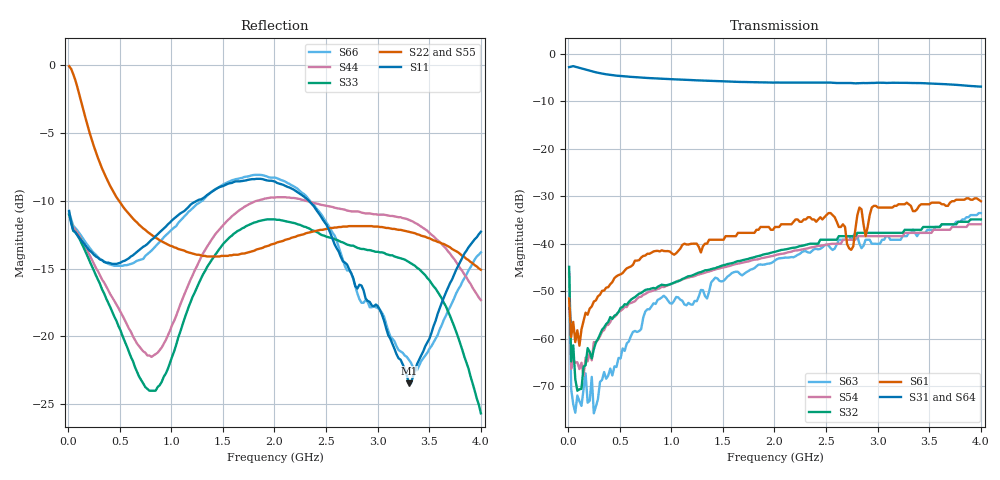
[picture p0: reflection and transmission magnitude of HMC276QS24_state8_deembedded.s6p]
! Hittite Microwave Corporation
! 20 Alpha Road
! Chelmsford, MA 01824
! Tel: 978-250-3343
! Fax: 978-250-3373
! Device: HMC276QS24, 0.7-3.0 GHz, GaAS MMIC 4x2 Switch Matrix in 24-lead QSOP package
! Misc: Data was de-embedded to package pins.
!  Port 1 = OP1
!  Port 2 = VL
!  Port 3 = VH
!  Port 4 = HH
!  Port 5 = HL
!  Port 6 = OP2
!  Vdd = +5 V
!  Vctl = 0 V[Logic 0] / +5 V[Logic 1]
!  State 08,  VH to OP1,  HH to OP2
!  Control Lines (Logic)
!  HV 1 = 0, Tone 1 = 1
!  HV 2 = 1, Tone 2 = 1
!  Data reformated to new Touchstone file format - Wed Jan 10 14:36:49 2007
# MHz S DB R 50
! 6 Port Network Data
! Created Wed Jan 10 15:18:00 2007
!# mhz S db R 50
! 6 Port Network Data from SP1.SP block
! freq  dbS11  angS11  dbS12  angS12  dbS13  angS13  dbS14  angS14
!  dbS15  angS15  dbS16  angS16
!  dbS21  angS21  dbS22  angS22
!  dbS23  angS23  dbS24  angS24  dbS25  angS25  dbS26  angS26
!  dbS31  angS31  dbS32  angS32  dbS33  angS33  dbS34  angS34
!  dbS35  angS35  dbS36  angS36
!  dbS41  angS41  dbS42  angS42
!  dbS43  angS43  dbS44  angS44  dbS45  angS45  dbS46  angS46
!  dbS51  angS51  dbS52  angS52  dbS53  angS53  dbS54  angS54
!  dbS55  angS55  dbS56  angS56
!  dbS61  angS61  dbS62  angS62
!  dbS63  angS63  dbS64  angS64  dbS65  angS65  dbS66  angS66
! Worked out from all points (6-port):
!   201 points, 10 MHz to 4 GHz, reference 50 ohm
!   strongest paths, dB at 10 MHz, 1.008 GHz, 2.005 GHz, 3.002 GHz, 4 GHz:
!     S31: -2.9, -5.4, -6.1, -6.1, -7.0
!     S64: -2.9, -5.4, -6.2, -6.3, -7.0
!     S61: -51.5, -42.1, -36.5, -32.4, -31.1
!     S32: -44.9, -48.4, -41.7, -37.7, -34.9
!     S54: -46.2, -48.4, -42.4, -38.4, -35.9
!     S63: -46.4, -52.6, -43.5, -40.1, -33.6
!   lowest |S11| = -23.5 dB at 3.302 GHz (marker M1), VSWR 1.14, Z = 56.3 + j3.37 ohm
!   |S11| at or under -10 dB: start of sweep to 1.248 GHz; 2.333 GHz to end of sweep
